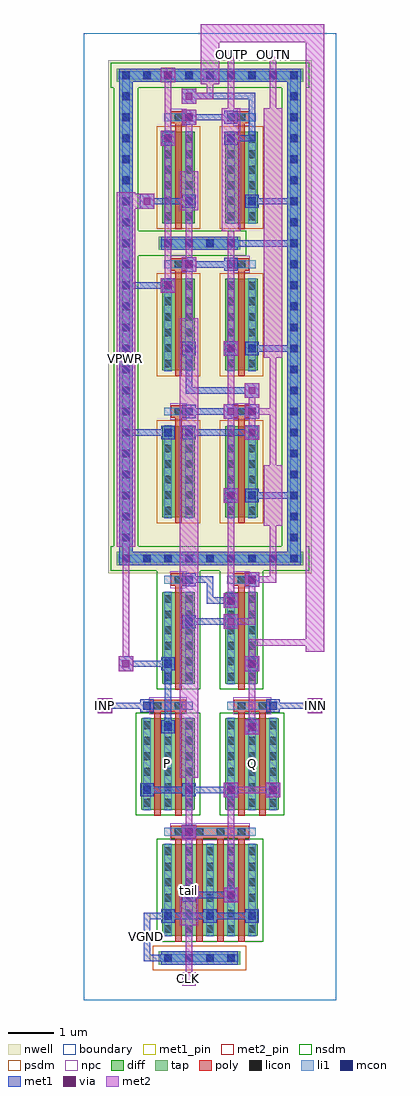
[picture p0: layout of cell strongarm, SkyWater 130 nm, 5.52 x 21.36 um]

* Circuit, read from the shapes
.subckt strongarm CLK INN INP OUTN OUTP P Q VGND VPWR tail
XM1 P INP tail VGND sky130_fd_pr__nfet_01v8 w=2 l=0.15 m=2
XM2 tail CLK VGND VGND sky130_fd_pr__nfet_01v8 w=2 l=0.15 m=4
XM3 OUTN OUTP P VGND sky130_fd_pr__nfet_01v8 w=2 l=0.15
XM4 Q INN tail VGND sky130_fd_pr__nfet_01v8 w=2 l=0.15 m=2
XM5 Q OUTN OUTP VGND sky130_fd_pr__nfet_01v8 w=2 l=0.15
XM6 OUTN OUTP VPWR VPWR sky130_fd_pr__pfet_01v8 w=2 l=0.15
XM7 OUTN CLK VPWR VPWR sky130_fd_pr__pfet_01v8 w=2 l=0.15
XM8 P CLK VPWR VPWR sky130_fd_pr__pfet_01v8 w=2 l=0.15
XM9 VPWR OUTN OUTP VPWR sky130_fd_pr__pfet_01v8 w=2 l=0.15
XM10 VPWR CLK OUTP VPWR sky130_fd_pr__pfet_01v8 w=2 l=0.15
XM11 VPWR CLK Q VPWR sky130_fd_pr__pfet_01v8 w=2 l=0.15
.ends

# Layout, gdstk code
import gdstk
lib = gdstk.Library(unit=1e-6, precision=1e-09)
def R(c, l, rs):  # rectangles x0, y0, x1, y1
    for r in rs: c.add(gdstk.rectangle(r[:2], r[2:], *l))
def A(c, l, x, y, w, h, nx, ny, dx, dy):  # array of equal rectangles
    R(c, l, [(x+i*dx, y+j*dy, x+i*dx+w, y+j*dy+h) for i in range(nx) for j in range(ny)])
nwell = (64, 20)
diff = (65, 20)
tap = (65, 44)
poly = (66, 20)
licon = (66, 44)
li1 = (67, 20)
mcon = (67, 44)
met1_pin = (68, 16)
met1 = (68, 20)
via = (68, 44)
met2_pin = (69, 16)
met2 = (69, 20)
nsdm = (93, 44)
psdm = (94, 20)
npc = (95, 20)
boundary = (235, 4)

strongarm = lib.new_cell('strongarm')
R(strongarm, nwell, [(0.535,9.335,4.985,20.565)])
A(strongarm, diff, 1.715, 10.56, 0.71, 2, 1, 3, 0, 3.22)
A(strongarm, diff, 3.095, 10.56, 0.71, 2, 1, 3, 0, 3.22)
R(strongarm, diff, [(1.715,1.405,3.805,3.405), (1.255,4.165,2.425,6.165), (3.095,4.165,4.265,6.165), (1.715,6.925,2.425,8.925), (3.095,6.925,3.805,8.925)])
R(strongarm, tap, [(1.635,0.775,3.425,1.065), (0.715,9.515,4.805,9.805), (0.775,9.515,1.065,20.385), (4.455,9.515,4.745,20.385), (1.635,16.415,3.425,16.705), (0.715,20.095,4.805,20.385)])
A(strongarm, poly, 1.995, 1.275, 0.15, 2.405, 4, 1, 0.46, 0)
A(strongarm, poly, 1.995, 10.43, 0.15, 2.45, 1, 3, 0, 3.22)
A(strongarm, poly, 3.375, 10.43, 0.15, 2.45, 1, 3, 0, 3.22)
A(strongarm, poly, 1.905, 12.745, 0.33, 0.27, 1, 3, 0, 3.22)
A(strongarm, poly, 3.285, 12.745, 0.33, 0.27, 1, 3, 0, 3.22)
R(strongarm, poly, [(1.905,3.545,3.615,3.815), (1.535,4.035,1.685,6.44), (1.995,4.035,2.145,6.44), (3.375,4.035,3.525,6.44), (3.835,4.035,3.985,6.44), (1.445,6.305,2.235,6.575), (3.285,6.305,4.075,6.575), (1.995,6.795,2.145,9.2), (3.375,6.795,3.525,9.2), (1.905,9.065,2.235,9.335), (3.285,9.065,3.615,9.335)])
A(strongarm, licon, 1.755, 0.835, 0.17, 0.17, 4, 2, 0.46, 15.64)
A(strongarm, licon, 1.755, 1.47, 0.17, 0.17, 5, 6, 0.46, 0.34)
A(strongarm, licon, 1.985, 3.595, 0.17, 0.17, 4, 1, 0.46, 0)
A(strongarm, licon, 1.295, 4.23, 0.17, 0.17, 3, 6, 0.46, 0.34)
A(strongarm, licon, 3.135, 4.23, 0.17, 0.17, 3, 6, 0.46, 0.34)
A(strongarm, licon, 1.755, 6.99, 0.17, 0.17, 1, 6, 0, 0.34)
A(strongarm, licon, 2.215, 6.99, 0.17, 0.17, 1, 6, 0, 0.34)
A(strongarm, licon, 3.135, 6.99, 0.17, 0.17, 1, 6, 0, 0.34)
A(strongarm, licon, 3.595, 6.99, 0.17, 0.17, 1, 6, 0, 0.34)
A(strongarm, licon, 0.835, 9.575, 0.17, 0.17, 9, 2, 0.46, 10.58)
A(strongarm, licon, 0.835, 10.035, 0.17, 0.17, 1, 22, 0, 0.46)
A(strongarm, licon, 4.515, 10.035, 0.17, 0.17, 1, 22, 0, 0.46)
A(strongarm, licon, 1.755, 10.625, 0.17, 0.17, 1, 6, 0, 0.34)
A(strongarm, licon, 2.215, 10.625, 0.17, 0.17, 1, 6, 0, 0.34)
A(strongarm, licon, 3.135, 10.625, 0.17, 0.17, 1, 6, 0, 0.34)
A(strongarm, licon, 3.595, 10.625, 0.17, 0.17, 1, 6, 0, 0.34)
A(strongarm, licon, 1.985, 12.795, 0.17, 0.17, 1, 3, 0, 3.22)
A(strongarm, licon, 3.365, 12.795, 0.17, 0.17, 1, 3, 0, 3.22)
A(strongarm, licon, 1.755, 13.845, 0.17, 0.17, 1, 6, 0, 0.34)
A(strongarm, licon, 2.215, 13.845, 0.17, 0.17, 1, 6, 0, 0.34)
A(strongarm, licon, 3.135, 13.845, 0.17, 0.17, 1, 6, 0, 0.34)
A(strongarm, licon, 3.595, 13.845, 0.17, 0.17, 1, 6, 0, 0.34)
A(strongarm, licon, 1.755, 17.065, 0.17, 0.17, 1, 6, 0, 0.34)
A(strongarm, licon, 2.215, 17.065, 0.17, 0.17, 1, 6, 0, 0.34)
A(strongarm, licon, 3.135, 17.065, 0.17, 0.17, 1, 6, 0, 0.34)
A(strongarm, licon, 3.595, 17.065, 0.17, 0.17, 1, 6, 0, 0.34)
R(strongarm, licon, [(1.525,6.355,1.695,6.525), (1.985,6.355,2.155,6.525), (3.365,6.355,3.535,6.525), (3.825,6.355,3.995,6.525), (1.985,9.115,2.155,9.285), (3.365,9.115,3.535,9.285)])
A(strongarm, li1, 1.755, 1.39, 0.17, 2.03, 5, 1, 0.46, 0)
A(strongarm, li1, 1.295, 4.15, 0.17, 2.03, 3, 1, 0.46, 0)
A(strongarm, li1, 3.135, 4.15, 0.17, 2.03, 3, 1, 0.46, 0)
A(strongarm, li1, 1.755, 10.545, 0.17, 2.03, 1, 3, 0, 3.22)
A(strongarm, li1, 2.215, 10.545, 0.17, 2.03, 1, 3, 0, 3.22)
A(strongarm, li1, 3.135, 10.545, 0.17, 2.03, 1, 3, 0, 3.22)
A(strongarm, li1, 3.595, 10.545, 0.17, 2.03, 1, 3, 0, 3.22)
A(strongarm, li1, 1.755, 12.795, 0.63, 0.17, 1, 3, 0, 3.22)
A(strongarm, li1, 3.135, 12.795, 0.63, 0.17, 1, 3, 0, 3.22)
R(strongarm, li1, [(1.675,0.835,3.385,1.005), (1.755,3.595,3.765,3.765), (1.295,6.355,2.385,6.525), (3.135,6.355,4.225,6.525), (1.755,6.91,1.925,8.94), (2.215,6.91,2.385,8.94), (3.135,6.91,3.305,8.94), (3.595,6.91,3.765,8.94), (1.755,9.115,2.385,9.285), (3.135,9.115,3.765,9.285), (0.755,9.575,4.765,9.745), (0.835,9.575,1.005,20.325), (4.515,9.575,4.685,20.325), (1.675,16.475,3.385,16.645), (0.755,20.155,4.765,20.325)])
A(strongarm, mcon, 1.755, 0.835, 0.17, 0.17, 4, 2, 0.46, 15.64)
A(strongarm, mcon, 1.755, 1.755, 0.17, 0.17, 3, 1, 0.92, 0)
A(strongarm, mcon, 1.295, 4.515, 0.17, 0.17, 4, 1, 0.92, 0)
A(strongarm, mcon, 3.595, 7.275, 0.17, 0.17, 1, 3, 0, 1.84)
A(strongarm, mcon, 0.835, 9.575, 0.17, 0.17, 9, 2, 0.46, 10.58)
A(strongarm, mcon, 0.835, 10.035, 0.17, 0.17, 1, 6, 0, 0.46)
A(strongarm, mcon, 4.515, 10.035, 0.17, 0.17, 1, 19, 0, 0.46)
A(strongarm, mcon, 2.215, 12.335, 0.17, 0.17, 1, 3, 0, 1.84)
A(strongarm, mcon, 0.835, 12.795, 0.17, 0.17, 3, 2, 1.38, 4.6)
A(strongarm, mcon, 0.835, 13.255, 0.17, 0.17, 1, 9, 0, 0.46)
A(strongarm, mcon, 0.835, 17.855, 0.17, 0.17, 1, 5, 0, 0.46)
A(strongarm, mcon, 1.755, 18.775, 0.17, 0.17, 3, 1, 1.38, 0)
R(strongarm, mcon, [(2.215,2.215,2.385,2.385), (3.135,2.215,3.305,2.385), (2.215,3.595,2.385,3.765), (1.755,5.895,1.925,6.065), (3.595,5.895,3.765,6.065), (1.295,6.355,1.465,6.525), (4.055,6.355,4.225,6.525), (1.755,7.275,1.925,7.445), (2.215,8.195,2.385,8.365), (3.135,8.655,3.305,8.825), (2.215,9.115,2.385,9.285), (3.135,10.955,3.305,11.125), (1.755,12.335,1.925,12.505), (3.135,14.175,3.305,14.345), (3.595,14.175,3.765,14.345), (1.755,15.555,1.925,15.725), (3.135,16.015,3.305,16.185), (2.215,19.235,2.385,19.405), (3.135,19.235,3.305,19.405), (4.515,19.235,4.685,19.405), (4.515,19.695,4.685,19.865)])
R(strongarm, met1_pin, [(1.31,0.85,1.45,1.91), (0.85,12.35,0.99,15.71)])
A(strongarm, met1, 1.695, 1.695, 0.29, 0.29, 3, 1, 0.92, 0)
A(strongarm, met1, 1.235, 4.455, 0.29, 0.29, 4, 1, 0.92, 0)
A(strongarm, met1, 3.535, 7.215, 0.29, 0.29, 1, 4, 0, 1.84)
A(strongarm, met1, 3.61, 10.97, 1.06, 0.14, 1, 3, 0, 3.22)
A(strongarm, met1, 3.52, 12.26, 0.32, 0.32, 1, 3, 0, 0.46)
A(strongarm, met1, 1.695, 12.275, 0.29, 0.29, 1, 3, 0, 3.22)
A(strongarm, met1, 2.23, 12.81, 1.06, 0.14, 1, 3, 0, 3.22)
R(strongarm, met1, [(1.695,0.775,3.365,1.065), (1.31,0.85,1.91,0.99), (1.31,0.85,1.45,1.91), (1.77,0.85,1.91,0.99), (1.31,1.77,1.91,1.91), (1.77,1.77,2.83,1.91), (2.69,1.77,3.75,1.91), (3.06,2.14,3.38,2.46), (2.155,2.155,2.445,2.445), (3.075,2.155,3.365,2.445), (2.23,2.23,3.29,2.37), (2.14,3.52,2.46,3.84), (2.155,3.535,2.445,3.825), (3.06,4.44,3.38,4.76), (3.98,4.44,4.3,4.76), (1.31,4.53,2.37,4.67), (2.23,4.53,3.29,4.67), (3.52,5.82,3.84,6.14), (1.695,5.835,1.985,6.125), (3.535,5.835,3.825,6.125), (1.77,5.91,1.91,7.43), (0.3,6.28,0.62,6.6), (4.9,6.28,5.22,6.6), (1.235,6.295,1.525,6.585), (3.995,6.295,4.285,6.585), (0.39,6.37,1.45,6.51), (4.07,6.37,5.13,6.51), (0.76,7.2,1.08,7.52), (3.52,7.2,3.84,7.52), (1.695,7.215,1.985,7.505), (0.85,7.29,1.91,7.43), (3.06,8.12,3.38,8.44), (2.155,8.135,2.445,8.425), (2.23,8.21,3.29,8.35), (3.06,8.58,3.38,8.9), (3.075,8.595,3.365,8.885), (2.69,8.67,3.29,8.81), (2.69,8.67,2.83,9.27), (3.52,9.04,3.84,9.36), (2.155,9.055,2.445,9.345), (2.23,9.13,2.83,9.27), (0.775,9.515,4.745,9.805), (0.775,9.515,1.065,20.385), (4.455,9.515,4.745,20.385), (3.06,10.88,3.38,11.2), (3.075,10.895,3.365,11.185), (4.53,10.97,4.67,11.11), (4.53,10.97,4.67,14.33), (2.155,12.275,2.445,12.565), (0.85,12.35,1.91,12.49), (0.85,12.35,0.99,15.71), (2.23,12.35,3.75,12.49), (3.06,12.72,3.38,13.04), (2.155,12.735,2.445,13.025), (2.23,13.27,3.75,13.41), (2.23,13.27,2.37,14.33), (3.06,14.1,3.38,14.42), (2.155,14.115,2.445,14.405), (3.075,14.115,3.365,14.405), (3.535,14.115,3.825,14.405), (4.53,14.19,4.67,17.55), (1.68,15.48,2,15.8), (0.85,15.57,1.91,15.71), (2.14,15.94,2.46,16.26), (2.155,15.955,2.445,16.245), (3.075,15.955,3.365,16.245), (1.695,16.415,3.365,16.705), (3.15,16.49,4.67,16.63), (3.15,16.49,3.29,16.63), (1.22,17.32,1.54,17.64), (2.155,17.335,2.445,17.625), (3.535,17.335,3.825,17.625), (1.31,17.41,2.37,17.55), (4.53,17.41,4.67,20.31), (1.68,18.7,2,19.02), (3.075,18.715,3.365,19.005), (3.15,18.79,3.75,18.93), (3.61,18.79,3.75,19.85), (2.14,19.16,2.46,19.48), (2.155,19.175,2.445,19.465), (3.075,19.175,3.365,19.465), (2.14,19.62,2.46,19.94), (2.23,19.71,3.75,19.85), (1.68,20.08,2,20.4), (0.775,20.095,4.745,20.385), (1.77,20.17,4.67,20.31), (4.53,20.17,4.67,20.31)])
A(strongarm, via, 3.605, 12.345, 0.15, 0.15, 1, 3, 0, 0.46)
R(strongarm, via, [(3.145,2.225,3.295,2.375), (2.225,3.605,2.375,3.755), (3.145,4.525,3.295,4.675), (4.065,4.525,4.215,4.675), (3.605,5.905,3.755,6.055), (0.385,6.365,0.535,6.515), (4.985,6.365,5.135,6.515), (0.845,7.285,0.995,7.435), (3.605,7.285,3.755,7.435), (3.145,8.205,3.295,8.355), (3.145,8.665,3.295,8.815), (3.605,9.125,3.755,9.275), (3.145,10.965,3.295,11.115), (3.145,12.805,3.295,12.955), (3.145,14.185,3.295,14.335), (1.765,15.565,1.915,15.715), (2.225,16.025,2.375,16.175), (1.305,17.405,1.455,17.555), (1.765,18.785,1.915,18.935), (2.225,19.245,2.375,19.395), (2.225,19.705,2.375,19.855), (1.765,20.165,1.915,20.315)])
R(strongarm, met2_pin, [(2.15,0.31,2.45,0.61), (0.31,6.29,0.61,6.59), (4.91,6.29,5.21,6.59), (3.15,20.63,3.29,20.77), (4.07,20.63,4.21,20.77)])
A(strongarm, met2, 3.52, 12.26, 0.32, 0.32, 1, 3, 0, 0.46)
R(strongarm, met2, [(2.15,0.31,2.45,0.61), (2.23,0.39,2.37,1.91), (2.23,0.39,2.37,0.53), (2.1,1.64,2.5,2.5), (3.06,2.14,3.38,2.46), (2.23,2.23,2.37,3.75), (3.15,2.23,3.29,4.67), (2.14,3.52,2.46,3.84), (2.23,3.61,2.37,5.13), (3.06,4.44,3.38,4.76), (3.98,4.44,4.3,4.76), (3.15,4.53,4.21,4.67), (2.1,4.86,2.5,14.92), (3.52,5.82,3.84,6.14), (3.61,5.91,3.75,7.43), (0.3,6.28,0.62,6.6), (4.9,6.28,5.22,6.6), (0.31,6.29,0.61,6.59), (4.91,6.29,5.21,6.59), (0.39,6.37,0.53,6.51), (4.99,6.37,5.13,6.51), (0.76,7.2,1.08,7.52), (3.52,7.2,3.84,7.52), (0.85,7.29,0.99,10.19), (3.61,7.29,3.75,7.89), (4.86,7.62,5.26,21.36), (3.61,7.75,5.13,7.89), (3.06,8.12,3.38,8.44), (3.15,8.21,3.75,8.35), (3.61,8.21,3.75,9.27), (3.06,8.58,3.38,8.9), (3.15,8.67,3.29,11.11), (3.52,9.04,3.84,9.36), (3.61,9.13,4.21,9.27), (4.07,9.13,4.21,10.65), (0.72,9.92,1.12,17.68), (3.94,10.38,4.34,11.7), (3.06,10.88,3.38,11.2), (3.15,10.97,3.29,14.33), (4.07,11.43,4.21,12.95), (3.61,12.35,3.75,12.95), (3.06,12.72,3.38,13.04), (3.61,12.81,4.21,12.95), (3.61,12.81,3.75,13.41), (4.07,12.81,4.21,14.33), (3.94,14.06,4.34,19.52), (3.06,14.1,3.38,14.42), (3.15,14.19,3.29,17.09), (2.23,14.65,2.37,16.17), (1.68,15.48,2,15.8), (1.77,15.57,1.91,18.93), (2.14,15.94,2.46,16.26), (2.23,16.03,2.37,17.55), (3.02,16.82,3.42,19.52), (2.1,17.28,2.5,18.14), (1.12,17.32,1.22,17.64), (1.22,17.32,1.54,17.64), (0.85,17.41,1.45,17.55), (2.23,17.87,2.37,19.39), (1.68,18.7,2,19.02), (1.77,18.79,1.91,20.31), (2.14,19.16,2.46,19.48), (3.15,19.25,3.29,20.77), (4.07,19.25,4.21,20.77), (2.14,19.62,2.46,19.94), (2.23,19.71,2.83,19.85), (2.69,19.71,2.83,20.31), (2.56,20.04,2.96,21.36), (1.68,20.08,2,20.4), (3.15,20.63,3.29,20.77), (4.07,20.63,4.21,20.77), (2.56,20.96,5.26,21.36)])
R(strongarm, nsdm, [(1.59,1.28,3.93,3.53), (1.13,4.04,2.55,6.29), (2.97,4.04,4.39,6.29), (1.59,6.8,2.55,9.39), (2.97,6.8,3.93,9.39), (0.59,9.39,4.93,9.93), (0.65,9.93,1.19,16.29), (4.33,9.93,4.87,19.97), (0.65,16.29,3.55,16.83), (0.65,16.83,1.19,19.97), (0.59,19.97,4.93,20.51)])
A(strongarm, psdm, 1.59, 10.435, 0.96, 2.25, 1, 3, 0, 3.22)
A(strongarm, psdm, 2.97, 10.435, 0.96, 2.25, 1, 3, 0, 3.22)
R(strongarm, psdm, [(1.51,0.65,3.55,1.19)])
A(strongarm, npc, 1.885, 12.695, 0.37, 0.37, 1, 3, 0, 3.22)
A(strongarm, npc, 3.265, 12.695, 0.37, 0.37, 1, 3, 0, 3.22)
R(strongarm, npc, [(1.885,3.495,3.635,3.865), (1.425,6.255,2.255,6.625), (3.265,6.255,4.095,6.625), (1.885,9.015,2.255,9.385), (3.265,9.015,3.635,9.385)])
R(strongarm, boundary, [(0,0,5.52,21.16)])
strongarm.add(gdstk.Label('tail', (2.3,2.405), layer=67, texttype=5))
strongarm.add(gdstk.Label('P', (1.84,5.165), layer=67, texttype=5))
strongarm.add(gdstk.Label('Q', (3.68,5.165), layer=67, texttype=5))
strongarm.add(gdstk.Label('VPWR', (0.92,14.03), layer=68, texttype=5))
strongarm.add(gdstk.Label('VGND', (1.38,1.38), layer=68, texttype=5))
strongarm.add(gdstk.Label('CLK', (2.3,0.46), layer=69, texttype=5))
strongarm.add(gdstk.Label('INP', (0.46,6.44), layer=69, texttype=5))
strongarm.add(gdstk.Label('INN', (5.06,6.44), layer=69, texttype=5))
strongarm.add(gdstk.Label('OUTP', (3.22,20.7), layer=69, texttype=5))
strongarm.add(gdstk.Label('OUTN', (4.14,20.7), layer=69, texttype=5))
strongarm.add(gdstk.Label('VPWR', (0.92,14.03), layer=68, texttype=16))
strongarm.add(gdstk.Label('VGND', (1.38,1.38), layer=68, texttype=16))
strongarm.add(gdstk.Label('CLK', (2.3,0.46), layer=69, texttype=16))
strongarm.add(gdstk.Label('INP', (0.46,6.44), layer=69, texttype=16))
strongarm.add(gdstk.Label('INN', (5.06,6.44), layer=69, texttype=16))
strongarm.add(gdstk.Label('OUTP', (3.22,20.7), layer=69, texttype=16))
strongarm.add(gdstk.Label('OUTN', (4.14,20.7), layer=69, texttype=16))

lib.write_gds('strongarm.gds')
